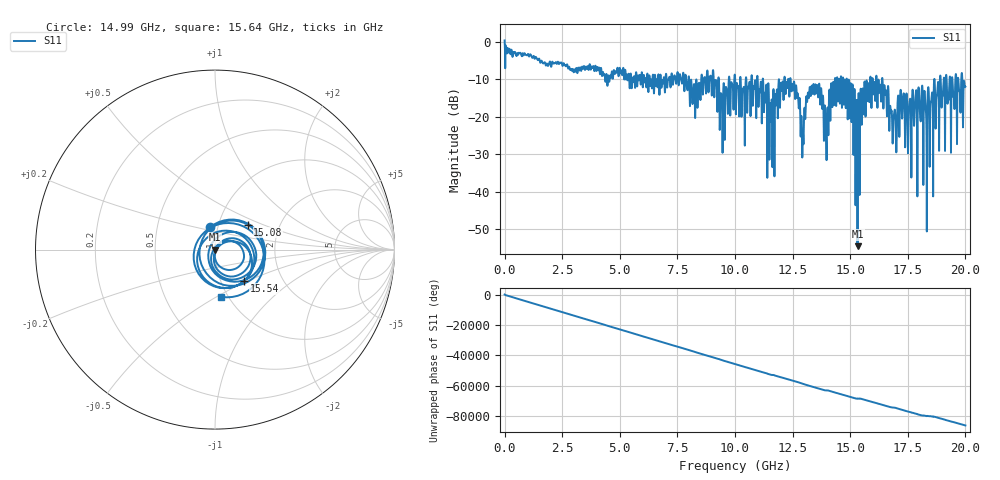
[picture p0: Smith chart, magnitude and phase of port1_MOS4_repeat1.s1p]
! MS46122B
! 2250307/22442219
! 7/24/2025 12:44:00 PM
! C:\USERS\SPARKY\DOCUMENTS\VNA_DATA\JULY24_2025\295K\PORT1_MOS4_REPEAT1.S1P
! CHANNEL.1
! TR.MEASUREMENT
! RAW.DATA
# GHZ S RI R 50.0
! FREQ.GHZ  S11RE  S11IM
!; PortSelection: Port_1
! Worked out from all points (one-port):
!   10001 points, 1 MHz to 20 GHz, reference 50 ohm
!   lowest |S11| = -54.5 dB at 15.32 GHz (marker M1), VSWR 1.00, Z = 50.2 - j0.0603 ohm
!   |S11| at or under -10 dB: 12.41 GHz to 14.34 GHz (1.924 GHz wide, 14.4 % of centre); 14.86 GHz to 15.86 GHz (1.007 GHz wide, 6.56 % of centre); 16.4 GHz to 18.65 GHz (2.245 GHz wide, 12.8 % of centre) (the widest 3 of 73)
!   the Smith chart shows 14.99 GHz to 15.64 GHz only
!   S11 on the Smith chart (normalised r, x): 14.99 GHz: 0.92, +0.23; 15.08 GHz: 1.38, +0.40; 15.54 GHz: 1.29, -0.48; 15.64 GHz: 0.93, -0.52
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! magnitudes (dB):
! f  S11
! 1 MHz  0.4
! 2.501 GHz  -6.1
! 5.001 GHz  -7.0
! 7.501 GHz  -8.1
! 8.209 GHz  -11.8
! 8.981 GHz  -12.5
! 9.407 GHz  -13.9
! 10 GHz  -9.1
! 11.04 GHz  -13.2
! 11.57 GHz  -19.5
! 12.5 GHz  -11.7
! 12.93 GHz  -27.8
! 13.33 GHz  -11.7
! 13.73 GHz  -12.6
! 13.95 GHz  -25.6
! 14.26 GHz  -10.7
! 14.99 GHz  -17.9
! 15 GHz  -13.0
! 15.08 GHz  -12.8
! 15.32 GHz  -54.5
! 15.54 GHz  -12.4
! 15.64 GHz  -11.5
! 16.47 GHz  -12.7
! 16.93 GHz  -18.3
! 17.25 GHz  -20.5
! 17.5 GHz  -26.3
! 18.38 GHz  -12.6
! 20 GHz  -11.9
